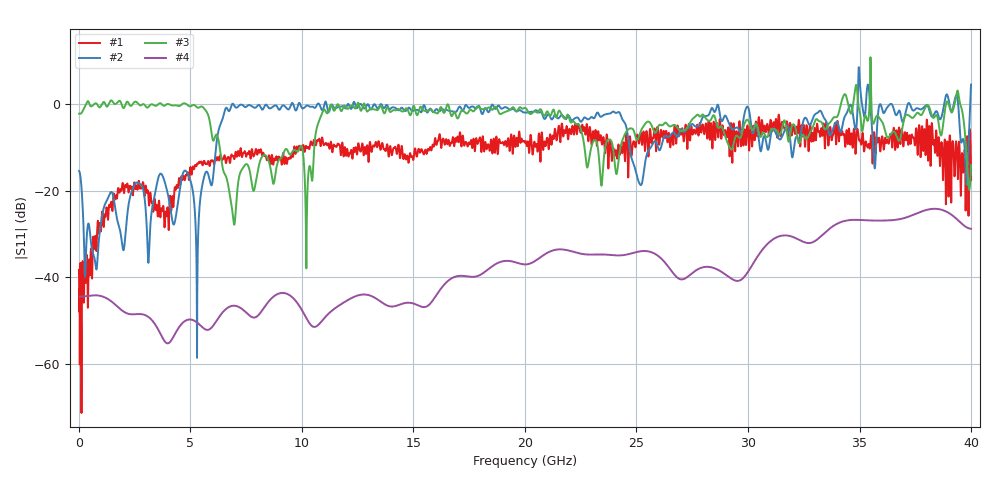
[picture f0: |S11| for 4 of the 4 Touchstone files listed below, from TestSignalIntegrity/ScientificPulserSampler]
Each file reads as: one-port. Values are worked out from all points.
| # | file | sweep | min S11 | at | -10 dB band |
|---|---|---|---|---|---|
| 1 | ScientificPulserSamplerTDR_14May2018-164347.s1p | 5 MHz to 40 GHz | -71.2 dB | 120 MHz | over 9.643 GHz wide |
| 2 | TestScientificPulserSamplerTest_testScientificPulserSamplerScopeWf_BpFilt_Calc.s1p | 10 MHz to 40 GHz | -58.6 dB | 5.3 GHz | over 6.139 GHz wide |
| 3 | TestScientificPulserSamplerTest_testScientificPulserSamplerScopeWf_LpFilt_Calc.s1p | 10 MHz to 40 GHz | -37.9 dB | 10.2 GHz | 3.6 GHz wide |
| 4 | WeinschelLoad.s1p | 50 MHz to 40 GHz | -55.2 dB | 4 GHz | over 39.95 GHz wide |
